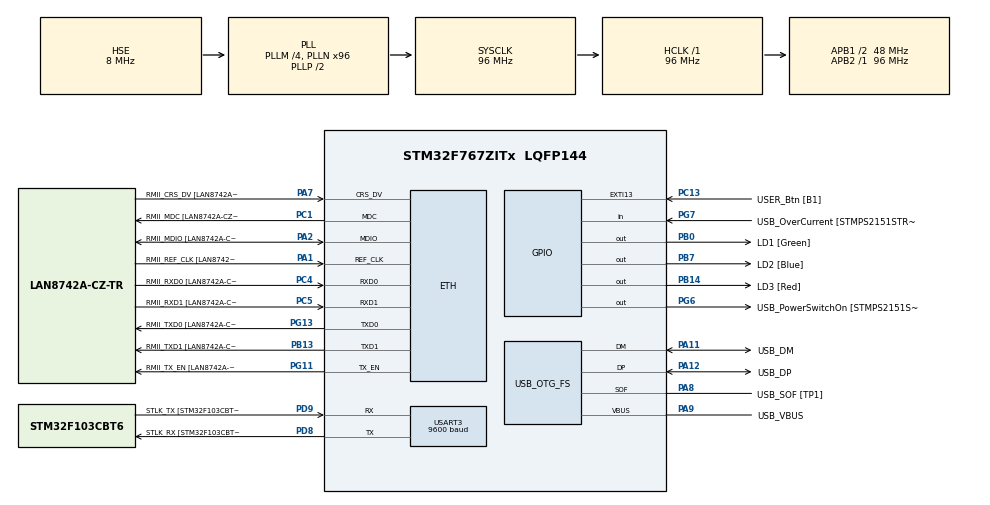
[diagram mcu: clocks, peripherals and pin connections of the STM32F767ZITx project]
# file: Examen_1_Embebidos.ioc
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ETH.MediaInterface=HAL_ETH_RMII_MODE
ETH.PHY_Name=LAN8742A_PHY_ADDRESS
ETH.PHY_Value=0
ETH.PhyAddress=0
Mcu.Family=STM32F7
Mcu.Name=STM32F767ZITx
Mcu.Package=LQFP144
NVIC.PriorityGroup=NVIC_PRIORITYGROUP_4
PA1.GPIO_Label=RMII_REF_CLK [LAN8742A-CZ-TR_REFCLK0]
PA1.Mode=RMII
PA1.Signal=ETH_REF_CLK
PA10.GPIO_Label=USB_ID
PA10.Signal=USB_OTG_FS_ID
PA11.GPIO_Label=USB_DM
PA11.Mode=Device_Only
PA11.Signal=USB_OTG_FS_DM
PA12.GPIO_Label=USB_DP
PA12.Mode=Device_Only
PA12.Signal=USB_OTG_FS_DP
PA13.GPIO_Label=TMS
PA13.Mode=Serial_Wire
PA13.Signal=SYS_JTMS-SWDIO
PA14.GPIO_Label=TCK
PA14.Mode=Serial_Wire
PA14.Signal=SYS_JTCK-SWCLK
PA2.GPIO_Label=RMII_MDIO [LAN8742A-CZ-TR_MDIO]
PA2.Mode=RMII
PA2.Signal=ETH_MDIO
PA7.GPIO_Label=RMII_CRS_DV [LAN8742A-CZ-TR_CRS_DV]
PA7.Mode=RMII
PA7.Signal=ETH_CRS_DV
PA8.GPIO_Label=USB_SOF [TP1]
PA8.Mode=Activate_SOF_FS
PA8.Signal=USB_OTG_FS_SOF
PA9.GPIO_Label=USB_VBUS
PA9.Mode=Activate_VBUS
PA9.Signal=USB_OTG_FS_VBUS
PB0.GPIO_Label=LD1 [Green]
PB0.Signal=GPIO_Output
PB13.GPIO_Label=RMII_TXD1 [LAN8742A-CZ-TR_TXD1]
PB13.Mode=RMII
PB13.Signal=ETH_TXD1
PB14.GPIO_Label=LD3 [Red]
PB14.Signal=GPIO_Output
PB3.GPIO_Label=SWO
PB3.Signal=SYS_JTDO-SWO
PB7.GPIO_Label=LD2 [Blue]
PB7.Signal=GPIO_Output
PC1.GPIO_Label=RMII_MDC [LAN8742A-CZ-TR_MDC]
PC1.Mode=RMII
PC1.Signal=ETH_MDC
PC13.GPIO_Label=USER_Btn [B1]
PC13.Signal=GPXTI13
PC14/OSC32_IN.Mode=LSE-External-Oscillator
PC14/OSC32_IN.Signal=RCC_OSC32_IN
PC15/OSC32_OUT.Mode=LSE-External-Oscillator
PC15/OSC32_OUT.Signal=RCC_OSC32_OUT
PC4.GPIO_Label=RMII_RXD0 [LAN8742A-CZ-TR_RXD0]
PC4.Mode=RMII
PC4.Signal=ETH_RXD0
PC5.GPIO_Label=RMII_RXD1 [LAN8742A-CZ-TR_RXD1]
PC5.Mode=RMII
PC5.Signal=ETH_RXD1
PD8.GPIO_Label=STLK_RX [STM32F103CBT6_PA3]
PD8.Mode=Asynchronous
PD8.Signal=USART3_TX
PD9.GPIO_Label=STLK_TX [STM32F103CBT6_PA2]
PD9.Mode=Asynchronous
PD9.Signal=USART3_RX
PG11.GPIO_Label=RMII_TX_EN [LAN8742A-CZ-TR_TXEN]
PG11.Mode=RMII
PG11.Signal=ETH_TX_EN
PG13.GPIO_Label=RMII_TXD0 [LAN8742A-CZ-TR_TXD0]
PG13.Mode=RMII
PG13.Signal=ETH_TXD0
PG6.GPIO_Label=USB_PowerSwitchOn [STMPS2151STR_EN]
PG6.Signal=GPIO_Output
PG7.GPIO_Label=USB_OverCurrent [STMPS2151STR_FAULT]
PG7.Signal=GPIO_Input
PH0/OSC_IN.GPIO_Label=MCO [STM32F103CBT6_PA8]
PH0/OSC_IN.Mode=HSE-External-Clock-Source
PH0/OSC_IN.Signal=RCC_OSC_IN
PH1/OSC_OUT.Mode=HSE-External-Clock-Source
PH1/OSC_OUT.Signal=RCC_OSC_OUT
ProjectManager.HeapSize=0x200
ProjectManager.StackSize=0x400
ProjectManager.TargetToolchain=STM32CubeIDE
RCC.48MHZClocksFreq_Value=24000000
RCC.AHBFreq_Value=96000000
RCC.APB1CLKDivider=RCC_HCLK_DIV2
RCC.APB1Freq_Value=48000000
RCC.APB1TimFreq_Value=96000000
RCC.APB2Freq_Value=96000000
RCC.APB2TimFreq_Value=96000000
RCC.CortexFreq_Value=96000000
RCC.HCLKFreq_Value=96000000
RCC.HSE_VALUE=8000000
RCC.HSI_VALUE=16000000
RCC.PLLM=4
RCC.PLLMUL=RCC_PLL_MUL9
RCC.PLLN=96
RCC.PLLQ=4
RCC.PRESCALERUSB=RCC_USBCLKSOURCE_PLL_DIV1_5
RCC.SYSCLKFreq_VALUE=96000000
RCC.SYSCLKSource=RCC_SYSCLKSOURCE_PLLCLK
RCC.SYSCLKSourceVirtual=RCC_SYSCLKSOURCE_PLLCLK
RCC.USBFreq_Value=48000000
RCC.VCOOutputFreq_Value=192000000
USART3.BaudRate=9600
USART3.VirtualMode-Asynchronous=VM_ASYNC
USB_OTG_FS.VirtualMode=Device_Only
board=NUCLEO-F767ZI

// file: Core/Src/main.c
/* USER CODE BEGIN Header */
/**
  ******************************************************************************
  * @file           : main.c
  * @brief          : Main program body
  ******************************************************************************
  * @attention
  *
  * Copyright (c) 2025 STMicroelectronics.
  * All rights reserved.
  *
  * This software is licensed under terms that can be found in the LICENSE file
  * in the root directory of this software component.
  * If no LICENSE file comes with this software, it is provided AS-IS.
  *
  ******************************************************************************
  */
/* USER CODE END Header */
#include "main.h"
#include "string.h"

/* USER CODE BEGIN PD */
#define DELAY 130
/* USER CODE END PD */

#if defined ( __ICCARM__ ) /*!< IAR Compiler */
#pragma location=0x2007c000
ETH_DMADescTypeDef  DMARxDscrTab[ETH_RX_DESC_CNT]; /* Ethernet Rx DMA Descriptors */
#pragma location=0x2007c0a0
ETH_DMADescTypeDef  DMATxDscrTab[ETH_TX_DESC_CNT]; /* Ethernet Tx DMA Descriptors */

#elif defined ( __CC_ARM )  /* MDK ARM Compiler */

__attribute__((at(0x2007c000))) ETH_DMADescTypeDef  DMARxDscrTab[ETH_RX_DESC_CNT]; /* Ethernet Rx DMA Descriptors */
__attribute__((at(0x2007c0a0))) ETH_DMADescTypeDef  DMATxDscrTab[ETH_TX_DESC_CNT]; /* Ethernet Tx DMA Descriptors */

#elif defined ( __GNUC__ ) /* GNU Compiler */

ETH_DMADescTypeDef DMARxDscrTab[ETH_RX_DESC_CNT] __attribute__((section(".RxDecripSection"))); /* Ethernet Rx DMA Descriptors */
ETH_DMADescTypeDef DMATxDscrTab[ETH_TX_DESC_CNT] __attribute__((section(".TxDecripSection")));   /* Ethernet Tx DMA Descriptors */
#endif

ETH_TxPacketConfig TxConfig;

ETH_HandleTypeDef heth;

UART_HandleTypeDef huart3;

PCD_HandleTypeDef hpcd_USB_OTG_FS;

void SystemClock_Config(void);
static void MX_GPIO_Init(void);
static void MX_ETH_Init(void);
static void MX_USART3_UART_Init(void);
static void MX_USB_OTG_FS_PCD_Init(void);

/* USER CODE BEGIN 0 */
void factorial(int num) {
    int resultado = 1;
    for (int i = 1; i <= num; i++) {
        resultado *= i;
    }
    num = resultado;

    char buffer[6];  // Espacio para hasta 5 dígitos más el carácter nulo '\0'
    int index = 0;
    // Extraer los dígitos de num y almacenarlos en buffer en orden inverso
    do {
        buffer[index++] = (num % 10) + '0';  // Extraemos el último dígito y lo convertimos a carácter
        num = num / 10;  // Eliminamos el último dígito dividiendo entre 10
    } while (num > 0);  // Continuamos hasta que el número se reduzca a 0

    // Invertir el orden de los dígitos en buffer para obtener el número correcto
    for (int i = 0, j = index - 1; i < j; i++, j--) {
        char temp = buffer[i];
        buffer[i] = buffer[j];
        buffer[j] = temp;
    }
    buffer[index] = '\0';  // Agregar el carácter nulo para finalizar la cadena

    // Enviar el número por UART
    HAL_UART_Transmit(&huart3, (uint8_t*)buffer, index, HAL_MAX_DELAY);

    // Enviar nueva línea
    HAL_UART_Transmit(&huart3, (uint8_t*)"\r\n", 2, HAL_MAX_DELAY);
}
void print_number(int num) {
    char buffer[6];  // Espacio para hasta 5 dígitos más el carácter nulo '\0'
    int index = 0;
    // Extraer los dígitos de num y almacenarlos en buffer en orden inverso
    do {
        buffer[index++] = (num % 10) + '0';  // Extraemos el último dígito y lo convertimos a carácter
        num = num / 10;  // Eliminamos el último dígito dividiendo entre 10
    } while (num > 0);  // Continuamos hasta que el número se reduzca a 0

    // Invertir el orden de los dígitos en buffer para obtener el número correcto
    for (int i = 0, j = index - 1; i < j; i++, j--) {
        char temp = buffer[i];
        buffer[i] = buffer[j];
        buffer[j] = temp;
    }
    buffer[index] = '\0';  // Agregar el carácter nulo para finalizar la cadena

    // Enviar el número por UART
    HAL_UART_Transmit(&huart3, (uint8_t*)buffer, index, HAL_MAX_DELAY);

    // Enviar nueva línea
    HAL_UART_Transmit(&huart3, (uint8_t*)"\r Factorial: ",12, HAL_MAX_DELAY);
}
void mostrar_en_leds(int numero) {
	numero = numero +1;
   HAL_GPIO_WritePin(GPIOB, LD1_Pin, (numero >> 0) & 0x01); // Bit 0
   HAL_GPIO_WritePin(GPIOB, LD2_Pin, (numero >> 1) & 0x01); // Bit 1
   HAL_GPIO_WritePin(GPIOB, LD3_Pin, (numero >> 2) & 0x01); // Bit 2
}
void factorial2(int num) {
    int resultado = 0;
    for (int i = 1; i <= num; i++) {
        resultado *= i;
    }
    num = resultado;

    char buffer[6];  // Espacio para hasta 5 dígitos más el carácter nulo '\0'
    int index = 0;
    // Extraer los dígitos de num y almacenarlos en buffer en orden inverso
    do {
        buffer[index++] = (num % 10) + '0';  // Extraemos el último dígito y lo convertimos a carácter
        num = num / 10;  // Eliminamos el último dígito dividiendo entre 10
    } while (num > 0);  // Continuamos hasta que el número se reduzca a 0

    // Invertir el orden de los dígitos en buffer para obtener el número correcto
    for (int i = 0, j = index - 1; i < j; i++, j--) {
        char temp = buffer[i];
        buffer[i] = buffer[j];
        buffer[j] = temp;
    }
    buffer[index] = '\0';  // Agregar el carácter nulo para finalizar la cadena

    // Enviar el número por UART
    HAL_UART_Transmit(&huart3, (uint8_t*)buffer, index, HAL_MAX_DELAY);

    // Enviar nueva línea
    HAL_UART_Transmit(&huart3, (uint8_t*)"\r\n",2, HAL_MAX_DELAY);
}
/* USER CODE END 0 */

int main(void)
{

  /* MCU Configuration--------------------------------------------------------*/

  /* Reset of all peripherals, Initializes the Flash interface and the Systick. */
  HAL_Init();

  /* Configure the system clock */
  SystemClock_Config();

  /* Initialize all configured peripherals */
  MX_GPIO_Init();
  MX_ETH_Init();
  MX_USART3_UART_Init();
  MX_USB_OTG_FS_PCD_Init();
  /* USER CODE BEGIN 2 */
  int contador = 0;
  int button_pressed = 0;
  int last_contador = -1;
  /* USER CODE END 2 */

  /* Infinite loop */
  /* USER CODE BEGIN WHILE */
  while (1)
  {
	   if (HAL_GPIO_ReadPin(GPIOC, GPIO_PIN_13) == GPIO_PIN_RESET) {
	        if (!button_pressed) {
	            contador++;
	            HAL_Delay(DELAY);
	            if (contador > 7) {
	                contador = 0;
	            }
	            button_pressed = 1;
	        }
	    } else {
	        button_pressed = 0;
	    }
	    if (contador != last_contador) {
	        last_contador = contador;

	        switch (contador) {
	            case 0:
	            	print_number(contador);
	            	factorial2(contador);
	            	mostrar_en_leds(contador);

	                break;
	            case 1:
	            	print_number(contador);
	            	factorial(contador);
	            	mostrar_en_leds(contador);

	                break;
	            case 2:
	            	print_number(contador);
	            	factorial(contador);
	            	mostrar_en_leds(contador);

	                break;
	            case 3:
	            	print_number(contador);
	            	factorial(contador);
	            	mostrar_en_leds(contador);

	                break;
	            case 4:
	            	print_number(contador);
	            	factorial(contador);
	            	mostrar_en_leds(contador);

	                break;
	            case 5:
	            	print_number(contador);
	            	factorial(contador);
	            	mostrar_en_leds(contador);

	                break;
	            case 6:
	            	print_number(contador);
	            	factorial(contador);
	            	mostrar_en_leds(contador);

	                break;
	            case 7:
	            	print_number(contador);
	            	factorial(contador);
	            	mostrar_en_leds(contador);

	                break;
	        }
	    }
    /* USER CODE END WHILE */

  }
}

void SystemClock_Config(void)
{
  RCC_OscInitTypeDef RCC_OscInitStruct = {0};
  RCC_ClkInitTypeDef RCC_ClkInitStruct = {0};

  /** Configure LSE Drive Capability
  */
  HAL_PWR_EnableBkUpAccess();

  /** Configure the main internal regulator output voltage
  */
  __HAL_RCC_PWR_CLK_ENABLE();
  __HAL_PWR_VOLTAGESCALING_CONFIG(PWR_REGULATOR_VOLTAGE_SCALE3);

  /** Initializes the RCC Oscillators according to the specified parameters
  * in the RCC_OscInitTypeDef structure.
  */
  RCC_OscInitStruct.OscillatorType = RCC_OSCILLATORTYPE_HSE;
  RCC_OscInitStruct.HSEState = RCC_HSE_BYPASS;
  RCC_OscInitStruct.PLL.PLLState = RCC_PLL_ON;
  RCC_OscInitStruct.PLL.PLLSource = RCC_PLLSOURCE_HSE;
  RCC_OscInitStruct.PLL.PLLM = 4;
  RCC_OscInitStruct.PLL.PLLN = 96;
  RCC_OscInitStruct.PLL.PLLP = RCC_PLLP_DIV2;
  RCC_OscInitStruct.PLL.PLLQ = 4;
  RCC_OscInitStruct.PLL.PLLR = 2;
  if (HAL_RCC_OscConfig(&RCC_OscInitStruct) != HAL_OK)
  {
    Error_Handler();
  }

  /** Activate the Over-Drive mode
  */
  if (HAL_PWREx_EnableOverDrive() != HAL_OK)
  {
    Error_Handler();
  }

  /** Initializes the CPU, AHB and APB buses clocks
  */
  RCC_ClkInitStruct.ClockType = RCC_CLOCKTYPE_HCLK|RCC_CLOCKTYPE_SYSCLK
                              |RCC_CLOCKTYPE_PCLK1|RCC_CLOCKTYPE_PCLK2;
  RCC_ClkInitStruct.SYSCLKSource = RCC_SYSCLKSOURCE_PLLCLK;
  RCC_ClkInitStruct.AHBCLKDivider = RCC_SYSCLK_DIV1;
  RCC_ClkInitStruct.APB1CLKDivider = RCC_HCLK_DIV2;
  RCC_ClkInitStruct.APB2CLKDivider = RCC_HCLK_DIV1;

  if (HAL_RCC_ClockConfig(&RCC_ClkInitStruct, FLASH_LATENCY_3) != HAL_OK)
  {
    Error_Handler();
  }
}

static void MX_ETH_Init(void)
{

   static uint8_t MACAddr[6];

  heth.Instance = ETH;
  MACAddr[0] = 0x00;
  MACAddr[1] = 0x80;
  MACAddr[2] = 0xE1;
  MACAddr[3] = 0x00;
  MACAddr[4] = 0x00;
  MACAddr[5] = 0x00;
  heth.Init.MACAddr = &MACAddr[0];
  heth.Init.MediaInterface = HAL_ETH_RMII_MODE;
  heth.Init.TxDesc = DMATxDscrTab;
  heth.Init.RxDesc = DMARxDscrTab;
  heth.Init.RxBuffLen = 1524;

  if (HAL_ETH_Init(&heth) != HAL_OK)
  {
    Error_Handler();
  }

  memset(&TxConfig, 0 , sizeof(ETH_TxPacketConfig));
  TxConfig.Attributes = ETH_TX_PACKETS_FEATURES_CSUM | ETH_TX_PACKETS_FEATURES_CRCPAD;
  TxConfig.ChecksumCtrl = ETH_CHECKSUM_IPHDR_PAYLOAD_INSERT_PHDR_CALC;
  TxConfig.CRCPadCtrl = ETH_CRC_PAD_INSERT;

}

static void MX_USART3_UART_Init(void)
{

  huart3.Instance = USART3;
  huart3.Init.BaudRate = 9600;
  huart3.Init.WordLength = UART_WORDLENGTH_8B;
  huart3.Init.StopBits = UART_STOPBITS_1;
  huart3.Init.Parity = UART_PARITY_NONE;
  huart3.Init.Mode = UART_MODE_TX_RX;
  huart3.Init.HwFlowCtl = UART_HWCONTROL_NONE;
  huart3.Init.OverSampling = UART_OVERSAMPLING_16;
  huart3.Init.OneBitSampling = UART_ONE_BIT_SAMPLE_DISABLE;
  huart3.AdvancedInit.AdvFeatureInit = UART_ADVFEATURE_NO_INIT;
  if (HAL_UART_Init(&huart3) != HAL_OK)
  {
    Error_Handler();
  }

}

static void MX_USB_OTG_FS_PCD_Init(void)
{

  hpcd_USB_OTG_FS.Instance = USB_OTG_FS;
  hpcd_USB_OTG_FS.Init.dev_endpoints = 6;
  hpcd_USB_OTG_FS.Init.speed = PCD_SPEED_FULL;
  hpcd_USB_OTG_FS.Init.dma_enable = DISABLE;
  hpcd_USB_OTG_FS.Init.phy_itface = PCD_PHY_EMBEDDED;
  hpcd_USB_OTG_FS.Init.Sof_enable = ENABLE;
  hpcd_USB_OTG_FS.Init.low_power_enable = DISABLE;
  hpcd_USB_OTG_FS.Init.lpm_enable = DISABLE;
  hpcd_USB_OTG_FS.Init.vbus_sensing_enable = ENABLE;
  hpcd_USB_OTG_FS.Init.use_dedicated_ep1 = DISABLE;
  if (HAL_PCD_Init(&hpcd_USB_OTG_FS) != HAL_OK)
  {
    Error_Handler();
  }

}

static void MX_GPIO_Init(void)
{
  GPIO_InitTypeDef GPIO_InitStruct = {0};

  /* GPIO Ports Clock Enable */
  __HAL_RCC_GPIOC_CLK_ENABLE();
  __HAL_RCC_GPIOH_CLK_ENABLE();
  __HAL_RCC_GPIOA_CLK_ENABLE();
  __HAL_RCC_GPIOB_CLK_ENABLE();
  __HAL_RCC_GPIOD_CLK_ENABLE();
  __HAL_RCC_GPIOG_CLK_ENABLE();

  /*Configure GPIO pin Output Level */
  HAL_GPIO_WritePin(GPIOB, LD1_Pin|LD3_Pin|LD2_Pin, GPIO_PIN_RESET);

  /*Configure GPIO pin Output Level */
  HAL_GPIO_WritePin(USB_PowerSwitchOn_GPIO_Port, USB_PowerSwitchOn_Pin, GPIO_PIN_RESET);

  /*Configure GPIO pin : USER_Btn_Pin */
  GPIO_InitStruct.Pin = USER_Btn_Pin;
  GPIO_InitStruct.Mode = GPIO_MODE_IT_RISING;
  GPIO_InitStruct.Pull = GPIO_NOPULL;
  HAL_GPIO_Init(USER_Btn_GPIO_Port, &GPIO_InitStruct);

  /*Configure GPIO pins : LD1_Pin LD3_Pin LD2_Pin */
  GPIO_InitStruct.Pin = LD1_Pin|LD3_Pin|LD2_Pin;
  GPIO_InitStruct.Mode = GPIO_MODE_OUTPUT_PP;
  GPIO_InitStruct.Pull = GPIO_NOPULL;
  GPIO_InitStruct.Speed = GPIO_SPEED_FREQ_LOW;
  HAL_GPIO_Init(GPIOB, &GPIO_InitStruct);

  /*Configure GPIO pin : USB_PowerSwitchOn_Pin */
  GPIO_InitStruct.Pin = USB_PowerSwitchOn_Pin;
  GPIO_InitStruct.Mode = GPIO_MODE_OUTPUT_PP;
  GPIO_InitStruct.Pull = GPIO_NOPULL;
  GPIO_InitStruct.Speed = GPIO_SPEED_FREQ_LOW;
  HAL_GPIO_Init(USB_PowerSwitchOn_GPIO_Port, &GPIO_InitStruct);

  /*Configure GPIO pin : USB_OverCurrent_Pin */
  GPIO_InitStruct.Pin = USB_OverCurrent_Pin;
  GPIO_InitStruct.Mode = GPIO_MODE_INPUT;
  GPIO_InitStruct.Pull = GPIO_NOPULL;
  HAL_GPIO_Init(USB_OverCurrent_GPIO_Port, &GPIO_InitStruct);

}

void Error_Handler(void)
{
  __disable_irq();
  while (1)
  {
  }
}
